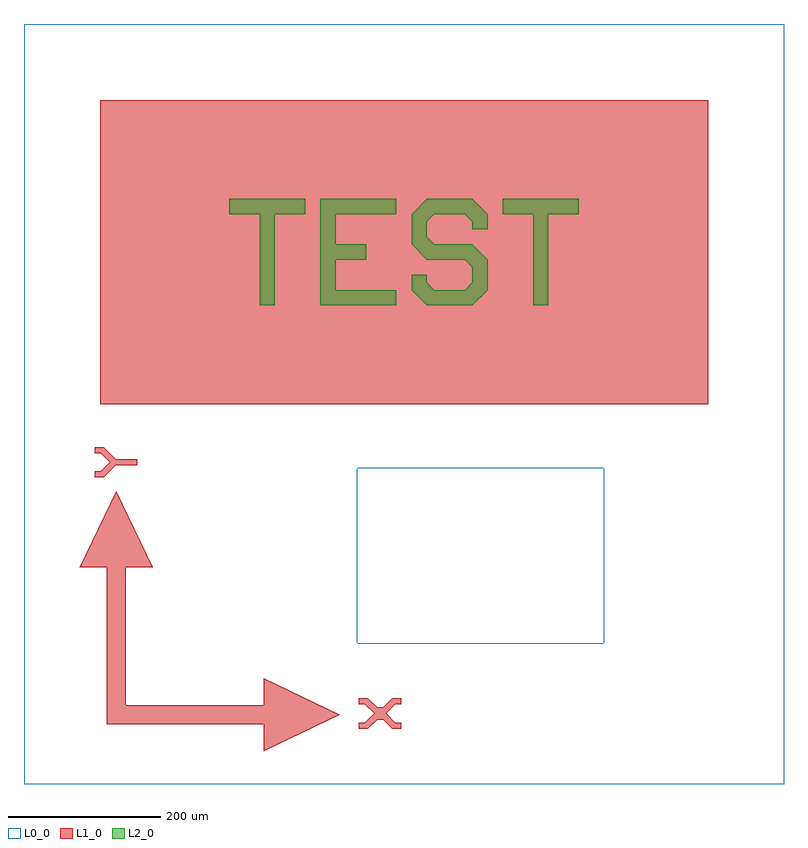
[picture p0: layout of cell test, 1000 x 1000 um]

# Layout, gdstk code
import gdstk
lib = gdstk.Library(unit=1e-6, precision=1e-09)
def R(c, l, rs):  # rectangles x0, y0, x1, y1
    for r in rs: c.add(gdstk.rectangle(r[:2], r[2:], *l))
def P(c, l, *ps):  # polygons
    for p in ps: c.add(gdstk.Polygon(p, *l))
L0_0 = (0, 0)
L1_0 = (1, 0)
L2_0 = (2, 0)

test = lib.new_cell('test')
P(test, L0_0, [(-500,-500),(-500,-84.7),(-61.3,-84.7),(-61.3,-314.7),(263,-314.7),(263,-84.7),(-500,-84.7),(-500,500),(500,500),(500,-500)])
R(test, L1_0, [(-400,0,400,400)])
P(test, L1_0, [(-184.5,-456.901),(-184.5,-421.4),(-391.1,-421.4),(-391.1,-408.9),(-84.6,-408.9)],
  [(-391.1,-408.901),(-391.1,-396.401),(-184.5,-396.401),(-184.5,-360.9),(-84.6,-408.901)],
  [(-378.551,-421.351),(-378.551,-114.851),(-330.55,-214.751),(-366.051,-214.751),(-366.051,-421.351)],
  [(-391.05,-421.351),(-391.05,-214.751),(-426.551,-214.751),(-378.55,-114.851),(-378.55,-421.351)],
  [(-407.15,-96.65),(-407.15,-88.65),(-399.15,-88.65),(-387.15,-76.65),(-399.15,-64.65),(-407.15,-64.65),(-407.15,-56.65),(-395.15,-56.65),(-379.15,-72.65),(-351.15,-72.65),(-351.15,-80.65),(-379.15,-80.65),(-395.15,-96.65)],
  [(-59.45,-427.15),(-59.45,-419.15),(-51.45,-419.15),(-39.45,-407.15),(-51.45,-395.15),(-59.45,-395.15),(-59.45,-387.15),(-47.45,-387.15),(-35.45,-399.15),(-27.45,-399.15),(-15.45,-387.15),(-3.45,-387.15),(-3.45,-395.15),(-11.45,-395.15),(-23.45,-407.15),(-11.45,-419.15),(-3.45,-419.15),(-3.45,-427.15),(-15.45,-427.15),(-27.45,-415.15),(-35.45,-415.15),(-47.45,-427.15)])
P(test, L2_0, [(-190,130),(-190,250),(-230,250),(-230,270),(-130,270),(-130,250),(-170,250),(-170,130)],
  [(-110,130),(-110,270),(-10,270),(-10,250),(-90,250),(-90,210),(-50,210),(-50,190),(-90,190),(-90,150),(-10,150),(-10,130)],
  [(30,130),(10,150),(10,170),(30,170),(30,160),(40,150),(80,150),(90,160),(90,180),(80,190),(30,190),(10,210),(10,250),(30,270),(90,270),(110,250),(110,230),(90,230),(90,240),(80,250),(40,250),(30,240),(30,220),(40,210),(90,210),(110,190),(110,150),(90,130)],
  [(170,130),(170,250),(130,250),(130,270),(230,270),(230,250),(190,250),(190,130)])

lib.write_gds('test.gds')
